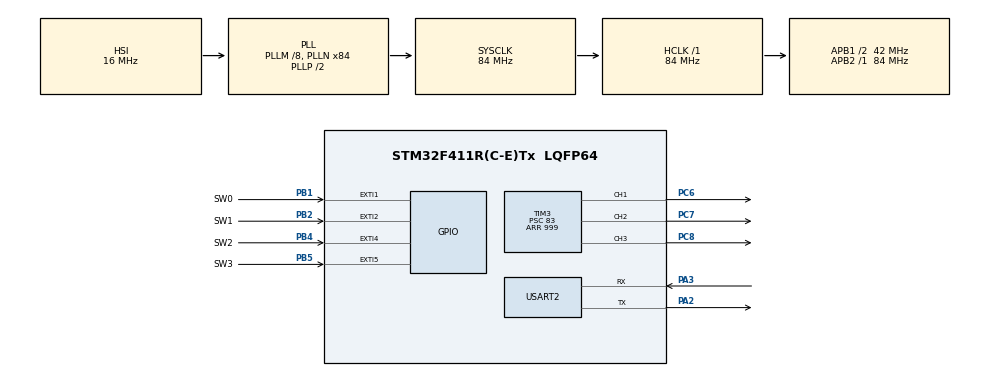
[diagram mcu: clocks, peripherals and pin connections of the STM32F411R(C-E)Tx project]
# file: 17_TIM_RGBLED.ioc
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Mcu.Family=STM32F4
Mcu.Name=STM32F411R(C-E)Tx
Mcu.Package=LQFP64
NVIC.EXTI1_IRQn=true\:0\:0\:false\:false\:true\:true\:true\:true
NVIC.EXTI2_IRQn=true\:0\:0\:false\:false\:true\:true\:true\:true
NVIC.EXTI4_IRQn=true\:0\:0\:false\:false\:true\:true\:true\:true
NVIC.EXTI9_5_IRQn=true\:0\:0\:false\:false\:true\:true\:true\:true
NVIC.PriorityGroup=NVIC_PRIORITYGROUP_4
PA13.Mode=Serial_Wire
PA13.Signal=SYS_JTMS-SWDIO
PA14.Mode=Serial_Wire
PA14.Signal=SYS_JTCK-SWCLK
PA2.Mode=Asynchronous
PA2.Signal=USART2_TX
PA3.Mode=Asynchronous
PA3.Signal=USART2_RX
PB1.GPIO_Label=SW0
PB1.Signal=GPXTI1
PB2.GPIO_Label=SW1
PB2.Signal=GPXTI2
PB4.GPIO_Label=SW2
PB4.Signal=GPXTI4
PB5.GPIO_Label=SW3
PB5.Signal=GPXTI5
PC6.Signal=S_TIM3_CH1
PC7.Signal=S_TIM3_CH2
PC8.Signal=S_TIM3_CH3
ProjectManager.HeapSize=0x200
ProjectManager.StackSize=0x400
ProjectManager.TargetToolchain=STM32CubeIDE
RCC.48MHZClocksFreq_Value=42000000
RCC.AHBFreq_Value=84000000
RCC.APB1CLKDivider=RCC_HCLK_DIV2
RCC.APB1Freq_Value=42000000
RCC.APB1TimFreq_Value=84000000
RCC.APB2Freq_Value=84000000
RCC.APB2TimFreq_Value=84000000
RCC.CortexFreq_Value=84000000
RCC.HCLKFreq_Value=84000000
RCC.HSE_VALUE=25000000
RCC.HSI_VALUE=16000000
RCC.LSE_VALUE=32768
RCC.PLLM=8
RCC.PLLN=84
RCC.SYSCLKFreq_VALUE=84000000
RCC.SYSCLKSource=RCC_SYSCLKSOURCE_PLLCLK
RCC.VCOOutputFreq_Value=168000000
SH.S_TIM3_CH1.0=TIM3_CH1,PWM Generation1 CH1
SH.S_TIM3_CH2.0=TIM3_CH2,PWM Generation2 CH2
SH.S_TIM3_CH3.0=TIM3_CH3,PWM Generation3 CH3
TIM3.Channel-PWM\ Generation1\ CH1=TIM_CHANNEL_1
TIM3.Channel-PWM\ Generation2\ CH2=TIM_CHANNEL_2
TIM3.Channel-PWM\ Generation3\ CH3=TIM_CHANNEL_3
TIM3.Period=999
TIM3.Prescaler=83
USART2.VirtualMode=VM_ASYNC
VP_TIM3_VS_ClockSourceINT.Mode=Internal
board=custom

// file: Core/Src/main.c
/* USER CODE BEGIN Header */
/**
  ******************************************************************************
  * @file           : main.c
  * @brief          : Main program body
  ******************************************************************************
  * @attention
  *
  * Copyright (c) 2024 STMicroelectronics.
  * All rights reserved.
  *
  * This software is licensed under terms that can be found in the LICENSE file
  * in the root directory of this software component.
  * If no LICENSE file comes with this software, it is provided AS-IS.
  *
  ******************************************************************************
  */
/* USER CODE END Header */
#include "main.h"

TIM_HandleTypeDef htim3;

UART_HandleTypeDef huart2;

/* USER CODE BEGIN PV */
volatile uint16_t gTim3Pulse[3];
/* USER CODE END PV */

void SystemClock_Config(void);
static void MX_GPIO_Init(void);
static void MX_TIM3_Init(void);
static void MX_USART2_UART_Init(void);

int main(void)
{

  /* MCU Configuration--------------------------------------------------------*/

  /* Reset of all peripherals, Initializes the Flash interface and the Systick. */
  HAL_Init();

  /* Configure the system clock */
  SystemClock_Config();

  /* Initialize all configured peripherals */
  MX_GPIO_Init();
  MX_TIM3_Init();
  MX_USART2_UART_Init();
  /* USER CODE BEGIN 2 */
  HAL_TIM_PWM_Start(&htim3, TIM_CHANNEL_1);
  HAL_TIM_PWM_Start(&htim3, TIM_CHANNEL_2);
  HAL_TIM_PWM_Start(&htim3, TIM_CHANNEL_3);
  /* USER CODE END 2 */

  /* Infinite loop */
  while (1)
  {

  }
}

void SystemClock_Config(void)
{
  RCC_OscInitTypeDef RCC_OscInitStruct = {0};
  RCC_ClkInitTypeDef RCC_ClkInitStruct = {0};

  /** Configure the main internal regulator output voltage
  */
  __HAL_RCC_PWR_CLK_ENABLE();
  __HAL_PWR_VOLTAGESCALING_CONFIG(PWR_REGULATOR_VOLTAGE_SCALE1);

  /** Initializes the RCC Oscillators according to the specified parameters
  * in the RCC_OscInitTypeDef structure.
  */
  RCC_OscInitStruct.OscillatorType = RCC_OSCILLATORTYPE_HSI;
  RCC_OscInitStruct.HSIState = RCC_HSI_ON;
  RCC_OscInitStruct.HSICalibrationValue = RCC_HSICALIBRATION_DEFAULT;
  RCC_OscInitStruct.PLL.PLLState = RCC_PLL_ON;
  RCC_OscInitStruct.PLL.PLLSource = RCC_PLLSOURCE_HSI;
  RCC_OscInitStruct.PLL.PLLM = 8;
  RCC_OscInitStruct.PLL.PLLN = 84;
  RCC_OscInitStruct.PLL.PLLP = RCC_PLLP_DIV2;
  RCC_OscInitStruct.PLL.PLLQ = 4;
  if (HAL_RCC_OscConfig(&RCC_OscInitStruct) != HAL_OK)
  {
    Error_Handler();
  }

  /** Initializes the CPU, AHB and APB buses clocks
  */
  RCC_ClkInitStruct.ClockType = RCC_CLOCKTYPE_HCLK|RCC_CLOCKTYPE_SYSCLK
                              |RCC_CLOCKTYPE_PCLK1|RCC_CLOCKTYPE_PCLK2;
  RCC_ClkInitStruct.SYSCLKSource = RCC_SYSCLKSOURCE_PLLCLK;
  RCC_ClkInitStruct.AHBCLKDivider = RCC_SYSCLK_DIV1;
  RCC_ClkInitStruct.APB1CLKDivider = RCC_HCLK_DIV2;
  RCC_ClkInitStruct.APB2CLKDivider = RCC_HCLK_DIV1;

  if (HAL_RCC_ClockConfig(&RCC_ClkInitStruct, FLASH_LATENCY_2) != HAL_OK)
  {
    Error_Handler();
  }
}

static void MX_TIM3_Init(void)
{

  TIM_ClockConfigTypeDef sClockSourceConfig = {0};
  TIM_MasterConfigTypeDef sMasterConfig = {0};
  TIM_OC_InitTypeDef sConfigOC = {0};

  htim3.Instance = TIM3;
  htim3.Init.Prescaler = 83;
  htim3.Init.CounterMode = TIM_COUNTERMODE_UP;
  htim3.Init.Period = 999;
  htim3.Init.ClockDivision = TIM_CLOCKDIVISION_DIV1;
  htim3.Init.AutoReloadPreload = TIM_AUTORELOAD_PRELOAD_DISABLE;
  if (HAL_TIM_Base_Init(&htim3) != HAL_OK)
  {
    Error_Handler();
  }
  sClockSourceConfig.ClockSource = TIM_CLOCKSOURCE_INTERNAL;
  if (HAL_TIM_ConfigClockSource(&htim3, &sClockSourceConfig) != HAL_OK)
  {
    Error_Handler();
  }
  if (HAL_TIM_PWM_Init(&htim3) != HAL_OK)
  {
    Error_Handler();
  }
  sMasterConfig.MasterOutputTrigger = TIM_TRGO_RESET;
  sMasterConfig.MasterSlaveMode = TIM_MASTERSLAVEMODE_DISABLE;
  if (HAL_TIMEx_MasterConfigSynchronization(&htim3, &sMasterConfig) != HAL_OK)
  {
    Error_Handler();
  }
  sConfigOC.OCMode = TIM_OCMODE_PWM1;
  sConfigOC.Pulse = 0;
  sConfigOC.OCPolarity = TIM_OCPOLARITY_HIGH;
  sConfigOC.OCFastMode = TIM_OCFAST_DISABLE;
  if (HAL_TIM_PWM_ConfigChannel(&htim3, &sConfigOC, TIM_CHANNEL_1) != HAL_OK)
  {
    Error_Handler();
  }
  if (HAL_TIM_PWM_ConfigChannel(&htim3, &sConfigOC, TIM_CHANNEL_2) != HAL_OK)
  {
    Error_Handler();
  }
  if (HAL_TIM_PWM_ConfigChannel(&htim3, &sConfigOC, TIM_CHANNEL_3) != HAL_OK)
  {
    Error_Handler();
  }
  HAL_TIM_MspPostInit(&htim3);

}

static void MX_USART2_UART_Init(void)
{

  huart2.Instance = USART2;
  huart2.Init.BaudRate = 115200;
  huart2.Init.WordLength = UART_WORDLENGTH_8B;
  huart2.Init.StopBits = UART_STOPBITS_1;
  huart2.Init.Parity = UART_PARITY_NONE;
  huart2.Init.Mode = UART_MODE_TX_RX;
  huart2.Init.HwFlowCtl = UART_HWCONTROL_NONE;
  huart2.Init.OverSampling = UART_OVERSAMPLING_16;
  if (HAL_UART_Init(&huart2) != HAL_OK)
  {
    Error_Handler();
  }

}

static void MX_GPIO_Init(void)
{
  GPIO_InitTypeDef GPIO_InitStruct = {0};

  /* GPIO Ports Clock Enable */
  __HAL_RCC_GPIOA_CLK_ENABLE();
  __HAL_RCC_GPIOB_CLK_ENABLE();
  __HAL_RCC_GPIOC_CLK_ENABLE();

  /*Configure GPIO pins : SW0_Pin SW1_Pin SW2_Pin SW3_Pin */
  GPIO_InitStruct.Pin = SW0_Pin|SW1_Pin|SW2_Pin|SW3_Pin;
  GPIO_InitStruct.Mode = GPIO_MODE_IT_RISING;
  GPIO_InitStruct.Pull = GPIO_NOPULL;
  HAL_GPIO_Init(GPIOB, &GPIO_InitStruct);

  /* EXTI interrupt init*/
  HAL_NVIC_SetPriority(EXTI1_IRQn, 0, 0);
  HAL_NVIC_EnableIRQ(EXTI1_IRQn);

  HAL_NVIC_SetPriority(EXTI2_IRQn, 0, 0);
  HAL_NVIC_EnableIRQ(EXTI2_IRQn);

  HAL_NVIC_SetPriority(EXTI4_IRQn, 0, 0);
  HAL_NVIC_EnableIRQ(EXTI4_IRQn);

  HAL_NVIC_SetPriority(EXTI9_5_IRQn, 0, 0);
  HAL_NVIC_EnableIRQ(EXTI9_5_IRQn);

}

/* USER CODE BEGIN 4 */
void HAL_GPIO_EXTI_Callback(uint16_t GPIO_Pin)
{
	  switch (GPIO_Pin)
	    {
	    case GPIO_PIN_1:  // SW0
	      if (gTim3Pulse[0] < 1000)
	        gTim3Pulse[0] += 200;
	      else
	        gTim3Pulse[0] = 0;

	      __HAL_TIM_SET_COMPARE(&htim3, TIM_CHANNEL_1, gTim3Pulse[0]);  // Red LED
	      break;

	    case GPIO_PIN_2:  // SW1
	      if (gTim3Pulse[1] < 1000)
	        gTim3Pulse[1] += 200;
	      else
	        gTim3Pulse[1] = 0;

	      __HAL_TIM_SET_COMPARE(&htim3, TIM_CHANNEL_2, gTim3Pulse[1]);  // Blue LED
	      break;

	    case GPIO_PIN_4:  // SW2
	      if (gTim3Pulse[2] < 1000)
	        gTim3Pulse[2] += 200;
	      else
	        gTim3Pulse[2] = 0;

	      __HAL_TIM_SET_COMPARE(&htim3, TIM_CHANNEL_3, gTim3Pulse[2]);  // Green LED
	      break;

	    case GPIO_PIN_5:  // SW3
	      gTim3Pulse[0] = 0;
	      gTim3Pulse[1] = 0;
	      gTim3Pulse[2] = 0;
	      __HAL_TIM_SET_COMPARE(&htim3, TIM_CHANNEL_1, gTim3Pulse[0]);
	      __HAL_TIM_SET_COMPARE(&htim3, TIM_CHANNEL_2, gTim3Pulse[1]);
	      __HAL_TIM_SET_COMPARE(&htim3, TIM_CHANNEL_3, gTim3Pulse[2]);
	      break;

	    default:
	      ;
	    }
}
/* USER CODE END 4 */

void Error_Handler(void)
{
  __disable_irq();
  while (1)
  {
  }
}
